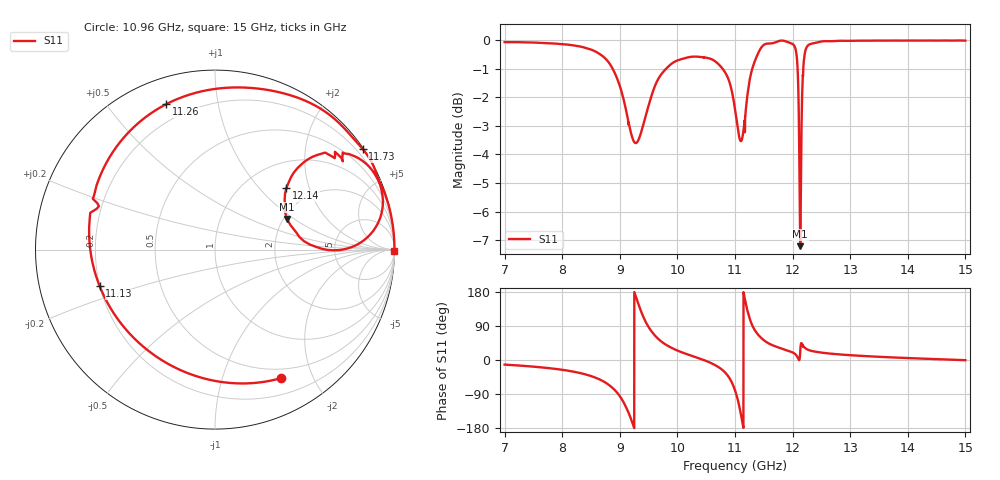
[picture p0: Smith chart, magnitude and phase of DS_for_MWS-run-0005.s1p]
! TOUCHSTONE file generated by CST DESIGN STUDIO
! Date and time: Mon Feb 10 16:52:21 2025
! Project name: C:\Work\MatlabApps\UnitCellType2OptimizationMatlab\CST\unitcell.cst
! Tree item: Tasks\Sweep1\SPara1\S-Parameters
! Header version: 2024
! Port assignment regex: !\s*Touchstone port\s*([0-9]+)\s*=\s*(CST MWS port|CST DES external port|CST DES block port)\s*(.+)\s* \(\"(.*)\"\)(\s*mode\s*([0-9]+))?.*
! Touchstone port assignment:
! Touchstone port 1 = CST DES external port 1 ("")
# GHz S MA R 50
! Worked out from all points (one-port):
!   4001 points, 7 GHz to 15 GHz, reference 50 ohm
!   lowest |S11| = -7.2 dB at 12.13 GHz (marker M1), VSWR 2.54, Z = 105 + j43.9 ohm
!   |S11| at or under -10 dB: nowhere
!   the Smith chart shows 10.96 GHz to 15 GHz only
!   S11 on the Smith chart (normalised r, x): 10.96 GHz: 0.39, -1.57; 11.13 GHz: 0.20, -0.15; 11.26 GHz: 0.12, +0.71; 11.73 GHz: 0.03, +3.24; 12.14 GHz: 1.50, +1.43; 15 GHz: open
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7  0.9933 -12.1
8  0.9855 -25.8
8.636  0.9489 -50.3
9  0.8323 -95.4
9.118  0.7464 -127.5
9.24  0.6662 -175.3
9.456  0.7413 98.7
9.692  0.8641 52.4
10  0.9225 24.9
10.664  0.918 -14.2
10.84  0.8751 -34.9
10.956  0.8051 -62.8
11  0.7576 -79.8
11.064  0.6846 -115.0
11.126  0.6742 -162.4
11.182  0.7424 154.3
11.256  0.8544 108.6
11.45  0.9696 58.9
11.732  0.9953 34.3
12  0.9857 19.9
12.092  0.8681 5.5
12.132  0.4357 23.0
12.142  0.5263 40.9
12.188  0.9005 36.5
12.298  0.9848 25.3
13  0.9985 12.7
14  0.9998 5.1
15  0.9994 -0.5
